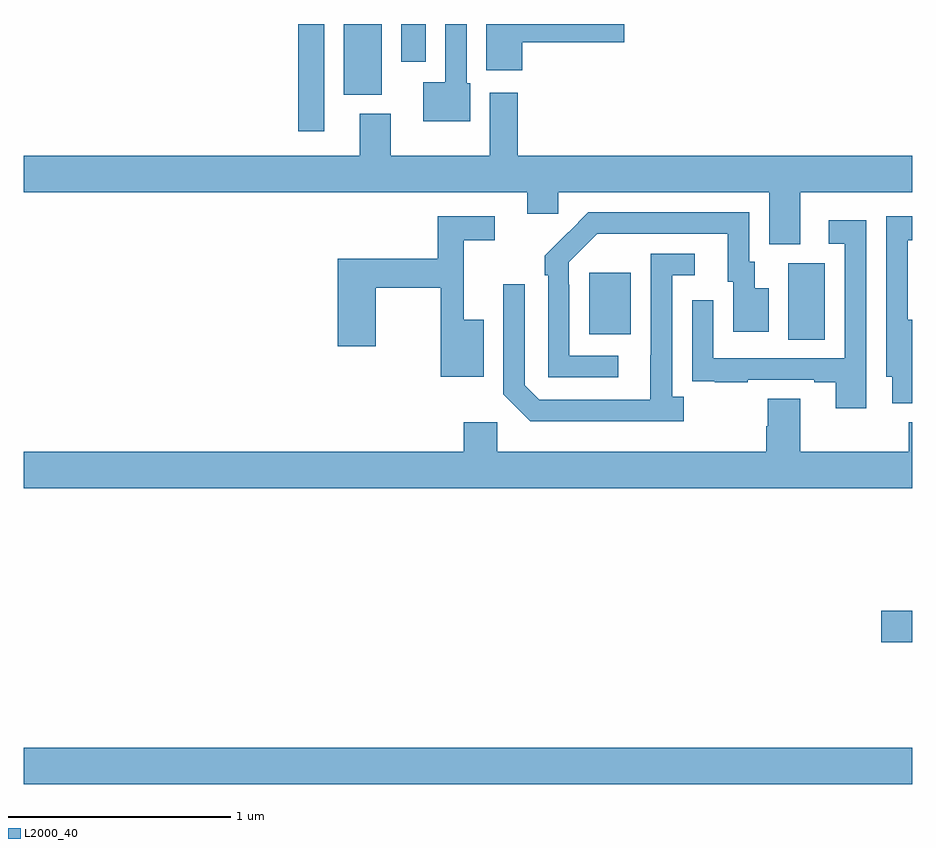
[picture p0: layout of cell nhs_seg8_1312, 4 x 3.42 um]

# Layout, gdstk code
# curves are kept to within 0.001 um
import gdstk
lib = gdstk.Library(unit=1e-6, precision=1e-09)
def R(c, l, rs):  # rectangles x0, y0, x1, y1
    for r in rs: c.add(gdstk.rectangle(r[:2], r[2:], *l))
def P(c, l, *ps):  # polygons
    for p in ps: c.add(gdstk.Polygon(p, *l))
L2000_40 = (2000, 40)

nhs_seg8_1312 = lib.new_cell('nhs_seg8_1312')
R(nhs_seg8_1312, L2000_40, [(193,1136.48,197,1136.644), (196.86,1137.118,197,1137.26), (196.442,1138.48,196.606,1138.824), (195.545,1138.505,195.733,1138.78), (194.236,1139.418,194.352,1139.9), (194.441,1139.582,194.611,1139.9), (194.699,1139.73,194.809,1139.9)])
P(nhs_seg8_1312, L2000_40, [(195.01,1139.634),(194.994,1139.634),(194.994,1139.9),(194.898,1139.9),(194.898,1139.638),(194.798,1139.638),(194.798,1139.462),(195.01,1139.462)],
  [(195.245,1139.819),(195.703,1139.819),(195.703,1139.9),(195.083,1139.9),(195.083,1139.691),(195.245,1139.691)],
  [(196.495,1139.144),(197,1139.144),(197,1139.308),(195.224,1139.308),(195.224,1139.59),(195.098,1139.59),(195.098,1139.308),(194.653,1139.308),(194.653,1139.497),(194.513,1139.497),(194.513,1139.308),(193,1139.308),(193,1139.144),(195.266,1139.144),(195.266,1139.046),(195.405,1139.046),(195.405,1139.144),(196.355,1139.144),(196.355,1138.909),(196.495,1138.909)],
  [(195.676,1138.407),(195.456,1138.407),(195.456,1138.727),(195.453,1138.727),(195.453,1138.827),(195.582,1138.956),(196.169,1138.956),(196.169,1138.74),(196.193,1138.74),(196.193,1138.515),(196.354,1138.515),(196.354,1138.711),(196.291,1138.711),(196.291,1138.83),(196.266,1138.83),(196.266,1139.052),(195.542,1139.052),(195.345,1138.857),(195.345,1138.769),(195.36,1138.769),(195.36,1138.311),(195.676,1138.311)],
  [(195.07,1138.57),(194.981,1138.57),(194.981,1138.926),(195.121,1138.926),(195.121,1139.034),(194.863,1139.034),(194.863,1138.843),(194.414,1138.843),(194.414,1138.449),(194.584,1138.449),(194.584,1138.714),(194.878,1138.714),(194.878,1138.313),(195.07,1138.313)],
  [(197,1138.57),(196.979,1138.57),(196.979,1138.926),(197,1138.926),(197,1139.034),(196.881,1139.034),(196.881,1138.313),(196.91,1138.313),(196.91,1138.194),(197,1138.194)],
  [(196.791,1139.017),(196.623,1139.017),(196.623,1138.911),(196.695,1138.911),(196.695,1138.395),(196.104,1138.395),(196.104,1138.657),(196.008,1138.657),(196.008,1138.402),(196.009,1138.402),(196.009,1138.293),(196.111,1138.293),(196.111,1138.287),(196.259,1138.287),(196.259,1138.299),(196.559,1138.299),(196.559,1138.287),(196.655,1138.287),(196.655,1138.17),(196.791,1138.17)],
  [(195.97,1138.222),(195.918,1138.222),(195.918,1138.77),(196.021,1138.77),(196.021,1138.866),(195.822,1138.866),(195.821,1138.209),(195.321,1138.209),(195.255,1138.275),(195.255,1138.729),(195.159,1138.729),(195.159,1138.233),(195.28,1138.112),(195.97,1138.112)],
  [(197,1138.108),(196.984,1138.108),(196.984,1137.976),(196.495,1137.976),(196.495,1138.214),(196.348,1138.214),(196.348,1138.089),(196.343,1138.089),(196.343,1137.976),(195.132,1137.976),(195.132,1138.108),(194.981,1138.108),(194.981,1137.976),(193,1137.976),(193,1137.812),(197,1137.812)])

lib.write_gds('nhs_seg8_1312.gds')
